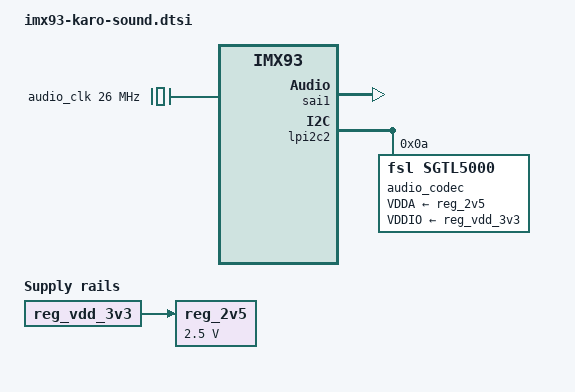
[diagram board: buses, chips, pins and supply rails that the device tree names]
// SPDX-License-Identifier: (GPL-2.0 OR BSD-3-Clause)
/*
 * Copyright (C) 2023 Lothar Waßmann <LWKARO-electronics.de>
 */

&{/} {
	audio_clk: audio-clk {
		compatible = "fixed-clock";
		#clock-cells = <0>;
		clock-frequency = <26000000>;
	};

	reg_2v5: regulator-2v5 {
		compatible = "regulator-fixed";
		regulator-name = "2v5";
		regulator-min-microvolt = <2500000>;
		regulator-max-microvolt = <2500000>;
		vin-supply = <&reg_vdd_3v3>;
		regulator-always-on;
	};

	sound {
		compatible = "karo,imx8m-sgtl5000", "simple-audio-card";
		simple-audio-card,name = "imx8m-tx8m-sgtl5000-audio";
		simple-audio-card,format = "i2s";
		simple-audio-card,bitclock-master = <&codec_dai>;
		simple-audio-card,frame-master = <&codec_dai>;
		simple-audio-card,widgets =
			"Microphone", "Mic Jack",
			"Line", "Line In",
			"Line", "Line Out",
			"Headphone", "Headphone Jack";
		simple-audio-card,routing =
			"MIC_IN", "Mic Jack",
			"Mic Jack", "Mic Bias",
			"Headphone Jack", "HP_OUT";
		status = "okay";

		cpu_dai: simple-audio-card,cpu {
			sound-dai = <&sai1>;
		};

		codec_dai: simple-audio-card,codec {
			sound-dai = <&audio_codec>;
		};
	};
};

&sai1 {
	#sound-dai-cells = <0>;
	status = "okay";
};

&lpi2c2 {
	status = "okay";

	audio_codec: codec@a {
		compatible = "fsl,sgtl5000";
		reg = <0xa>;
		#sound-dai-cells = <0>;
		VDDA-supply = <&reg_2v5>;
		VDDIO-supply = <&reg_vdd_3v3>;
		clocks = <&audio_clk>;
		status = "okay";
	};
};
